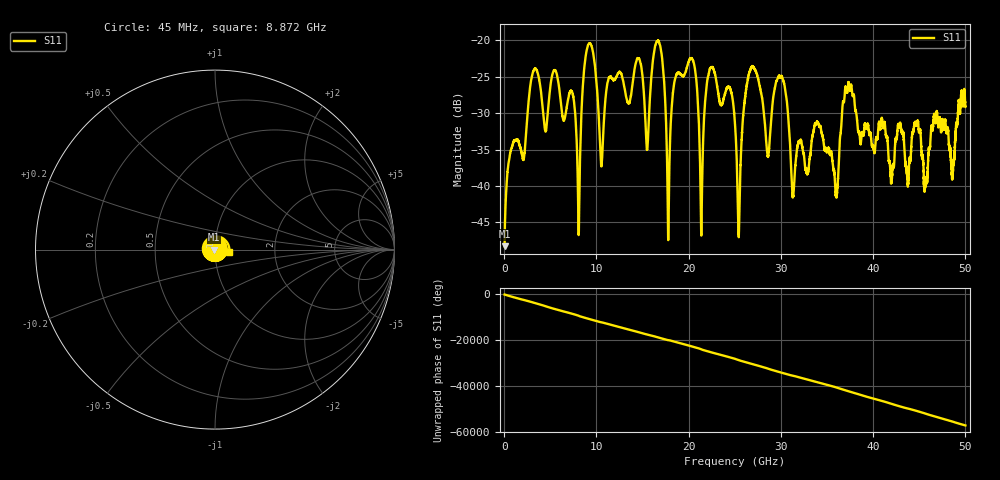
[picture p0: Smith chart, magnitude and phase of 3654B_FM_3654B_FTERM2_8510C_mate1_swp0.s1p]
!Created with skrf (http://scikit-rf.org).
# Hz S RI R 50.0
!freq ReS11 ImS11
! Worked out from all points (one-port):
!   10001 points, 45 MHz to 50 GHz, reference 50 ohm
!   lowest |S11| = -48.3 dB at 45 MHz (marker M1), VSWR 1.01, Z = 49.6 - j0.0828 ohm
!   |S11| at or under -10 dB: start of sweep to end of sweep
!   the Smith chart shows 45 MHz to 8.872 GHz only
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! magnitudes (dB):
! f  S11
! 45 MHz  -48.3
! 3.207 GHz  -24.1
! 6.289 GHz  -30.2
! 7.408 GHz  -27.3
! 8.058 GHz  -46.0
! 9.097 GHz  -20.6
! 10.53 GHz  -37.3
! 12.53 GHz  -24.3
! 14.64 GHz  -22.5
! 15.5 GHz  -35.0
! 16.76 GHz  -20.1
! 17.8 GHz  -46.1
! 18.78 GHz  -24.5
! 20.55 GHz  -23.0
! 21.37 GHz  -46.6
! 22.4 GHz  -23.7
! 25.02 GHz  -31.5
! 25.44 GHz  -46.5
! 26.68 GHz  -24.1
! 28.58 GHz  -35.9
! 30.01 GHz  -25.0
! 31.27 GHz  -41.2
! 33.89 GHz  -31.2
! 36.02 GHz  -41.6
! 37.51 GHz  -26.7
! 43.76 GHz  -40.0
! 48.62 GHz  -38.2
! 50 GHz  -29.1
